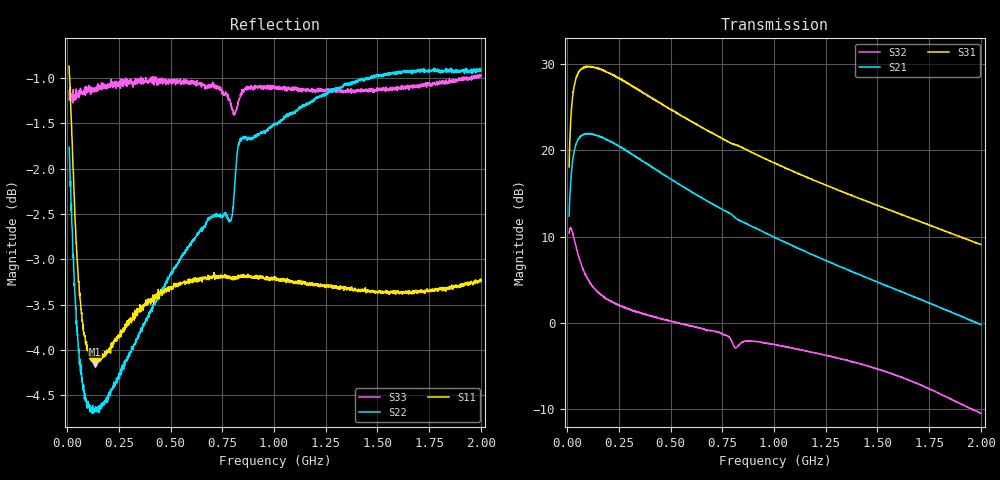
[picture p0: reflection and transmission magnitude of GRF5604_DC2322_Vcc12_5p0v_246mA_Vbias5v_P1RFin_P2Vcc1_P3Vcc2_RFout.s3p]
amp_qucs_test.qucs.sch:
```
<Qucs Schematic 25.2.0>
<Properties>
  <View=-505,-738,2120,708,1.02668,0,0>
  <Grid=10,10,1>
  <DataSet=amp_qucs_sim.qucs.dat>
  <DataDisplay=amp_qucs_sim.qucs.dpl>
  <OpenDisplay=0>
  <Script=amp_qucs_sim.m>
  <RunScript=0>
  <showFrame=0>
  <FrameText0=Title>
  <FrameText1=Drawn By:>
  <FrameText2=Date:>
  <FrameText3=Revision:>
</Properties>
<Symbol>
</Symbol>
<Components>
  <GND * 1 770 230 0 0 0 0>
  <GND * 1 500 320 0 0 0 0>
  <GND * 1 900 320 0 0 0 0>
  <.SP SP1 1 360 60 0 50 0 0 "lin" 1 "400 MHz" 1 "500 MHz" 1 "200" 1 "no" 0 "1" 0 "2" 0 "no" 0 "no" 0>
  <Pac P1 1 500 290 18 -26 0 1 "1" 1 "50 Ohm" 1 "-20 dBm" 1 "1 MHz" 0 "26.85" 0 "true" 0>
  <SPfile X1 1 710 230 -79 -26 0 1 "GRF5604_S3P/GRF5604_DC2322_Vcc12_5p0v_246mA_Vbias5v_P1RFin_P2Vcc1_P3Vcc2_RFout.s3p" 0 "rectangular" 0 "linear" 0 "open" 0 "3" 0>
  <Pac P2 1 900 290 18 -26 0 1 "2" 1 "50 Ohm" 1 "-200 dBm" 0 "1 MHz" 0 "26.85" 0 "true" 0>
</Components>
<Wires>
  <500 260 680 260 "" 0 0 0 "">
  <740 260 900 260 "" 0 0 0 "">
</Wires>
<Diagrams>
  <Rect 1060 130 240 160 3 #c0c0c0 1 01 1 4e+08 2e+07 5e+08 1 19.337 2 24.382 1 -1 1 1 315 0 225 1 3 0 "" "" "">
	<"amp_qucs_sim.qucs:S[2,1]@frequency" #0000ff 0 3 0 0 0>
  </Rect>
</Diagrams>
<Paintings>
</Paintings>
```
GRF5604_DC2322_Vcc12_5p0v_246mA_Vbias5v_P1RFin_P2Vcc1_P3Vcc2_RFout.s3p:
!Keysight Technologies,N5244B,MY57181157,A.18.40.03
!Date: Wednesday, September 10, 2025 10:25:03
!Correction: S11(C  3-Port  )
!S12(C  3-Port  )
!S13(C  3-Port  )
!S21(C  3-Port  )
!S22(C  3-Port  )
!S23(C  3-Port  )
!S31(C  3-Port  )
!S32(C  3-Port  )
!S33(C  3-Port  )
!S3P File: Measurements: <S11,S12,S13>,
!<S21,S22,S23>,
!<S31,S32,S33>:
# Hz S  RI  R 50
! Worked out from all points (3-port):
!   1991 points, 10 MHz to 2 GHz, reference 50 ohm
!   strongest paths, dB at 10 MHz, 507 MHz, 1.005 GHz, 1.503 GHz, 2 GHz:
!     S31: 18.1, 24.6, 18.5, 13.6, 9.1
!     S21: 12.4, 16.6, 9.9, 4.7, -0.2
!     S32: 10.4, 0.1, -2.5, -5.4, -10.5
!   lowest |S11| = -4.2 dB at 136 MHz (marker M1), VSWR 4.26, Z = 41 - j71 ohm
!   |S11| at or under -10 dB: nowhere
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1e7  0.8895 -0.1651  0.0406 -0.0123  -0.000122 0.000313
     -1.768 -3.759  0.713 -0.3973  0.00342 -0.00887
     -1.507 7.875  -3.061 -1.241  -0.2526 -0.8291
6e7  0.5397 -0.4071  0.0144 -0.0159  0.000119 -6.62e-05
     -11.45 -2.769  -0.1988 -0.5872  0.00329 0.00267
     27.04 9.821  -1.96 1.283  -0.8472 -0.2257
1.36e8  0.3172 -0.5327  0.00817 -0.00747  0.000118 1.81e-05
        -11.64 3.813  -0.4588 -0.3609  0.00623 0.0044
        28.99 -8.482  -1.213 0.9907  -0.8732 -0.1127
6.61e8  -0.4735 -0.5039  0.00936 -0.000536  -0.000452 0.0011
        0.8456 5.155  -0.7306 -0.1015  0.0126 0.00607
        -3.749 -12.86  -0.3323 0.8607  -0.8826 -0.0379
2e9  -0.6879 0.0486  0.00804 0.0023  0.000452 0.00466
     0.9625 0.1619  -0.8068 0.3984  0.00989 0.00987
     -2.664 0.9908  0.2326 0.1882  -0.8823 0.1393
